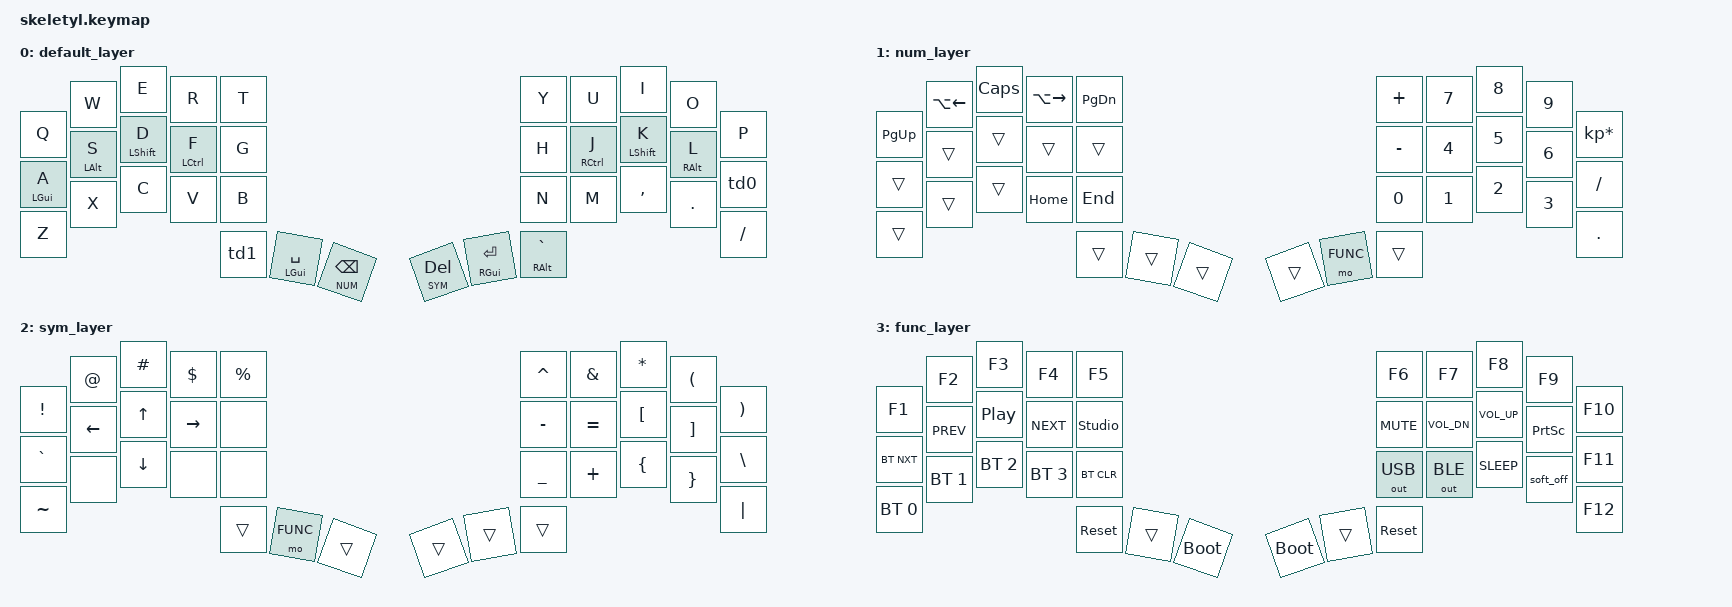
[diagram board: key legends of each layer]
/*
 * Copyright (c) 2020 The ZMK Contributors
 *
 * SPDX-License-Identifier: MIT
 */

#include <behaviors.dtsi>
#include <dt-bindings/zmk/bt.h>
#include <dt-bindings/zmk/keys.h>
#include <dt-bindings/zmk/outputs.h>

// LAYERS

#define DEFAULT 0
#define NUM     1
#define SYM     2
#define FUNC    3

// MACROS

#define SUPER LC(LSHIFT)
#define SUPER2 LA(LC(LSHIFT))

// Opposite-hand key positions, used to restrict homerow mod holds to
// cross-hand chords so same-hand rolls resolve as taps.

#define LEFT_HAND_KEYS 1 2 3 4 5 13 14 15 16 17 25 26 27 28 29 36 37 38
#define RIGHT_HAND_KEYS 6 7 8 9 10 18 19 20 21 22 30 31 32 33 34 39 40 41

&mt {
    tapping-term-ms = <200>;
    flavor = "tap-preferred";
};

/ {
    behaviors {
        hml: homerow_mods_left {
            compatible = "zmk,behavior-hold-tap";
            label = "HOMEROW_MODS_LEFT";
            #binding-cells = <2>;
            tapping-term-ms = <200>;
            quick-tap-ms = <120>;
            flavor = "balanced";
            bindings = <&kp>, <&kp>;

            hold-trigger-key-positions = <RIGHT_HAND_KEYS>;
            hold-trigger-on-release;
        };

        hmr: homerow_mods_right {
            compatible = "zmk,behavior-hold-tap";
            label = "HOMEROW_MODS_RIGHT";
            #binding-cells = <2>;
            tapping-term-ms = <200>;
            quick-tap-ms = <120>;
            flavor = "balanced";
            bindings = <&kp>, <&kp>;

            hold-trigger-key-positions = <LEFT_HAND_KEYS>;
            hold-trigger-on-release;
        };

        td0: tap_dance_0 {
            compatible = "zmk,behavior-tap-dance";
            label = "TAP_DANCE_0";
            #binding-cells = <0>;
            tapping-term-ms = <250>;
            bindings = <&hmr RGUI SEMI>, <&kp SQT>;
        };

        td1: tap_dance_1 {
            compatible = "zmk,behavior-tap-dance";
            label = "TAP_DANCE_1";
            #binding-cells = <0>;
            tapping-term-ms = <200>;
            bindings = <&mt LCTRL TAB>, <&kp ESC>;
        };
    };

    combos {
        compatible = "zmk,combos";

        combo_cword {
            timeout-ms = <50>;
            key-positions = <16 19>;
            require-prior-idle-ms = <150>;
            bindings = <&caps_word>;
        };

        combo_vimwq {
            timeout-ms = <50>;
            key-positions = <1 2>;
            require-prior-idle-ms = <150>;
            bindings = <&vim_quit>;
        };
    };

    macros {
        vim_quit: vim_quit {
            label = "ZM_vim_quit";
            compatible = "zmk,behavior-macro";
            #binding-cells = <0>;
            bindings = <&macro_tap>, <&kp ESC &kp COLON &kp W &kp Q>;
        };
    };

    keymap {
        compatible = "zmk,keymap";

        default_layer {
            bindings = <
&kp Q        &kp W        &kp E          &kp R           &kp T         &kp Y        &kp U         &kp I           &kp O        &kp P
&hml LGUI A  &hml LALT S  &hml LSHIFT D  &hml LCTRL F    &kp G         &kp H        &hmr RCTRL J  &hmr LSHIFT K   &hmr RALT L  &td0
&kp Z        &kp X        &kp C          &kp V           &kp B         &kp N        &kp M         &kp COMMA       &kp DOT      &kp FSLH
                          &td1           &mt LGUI SPACE  &lt NUM BSPC  &lt SYM DEL  &mt RGUI RET  &mt RALT GRAVE
            >;
        };

        num_layer {
            bindings = <
&kp PG_UP  &kp LA(LEFT)  &kp CAPSLOCK  &kp LA(RIGHT)  &kp PAGE_DOWN  &kp PLUS   &kp N7    &kp N8  &kp N9  &kp KP_MULTIPLY
&trans     &trans        &trans        &trans         &trans         &kp MINUS  &kp N4    &kp N5  &kp N6  &kp SLASH
&trans     &trans        &trans        &kp HOME       &kp END        &kp N0     &kp N1    &kp N2  &kp N3  &kp DOT
                         &trans        &trans         &trans         &trans     &mo FUNC  &trans
            >;
        };

        sym_layer {
            bindings = <
&kp EXCL   &kp AT    &kp HASH  &kp DLLR   &kp PRCNT  &kp CARET  &kp AMPS   &kp ASTERISK  &kp LPAR  &kp RPAR
&kp GRAVE  &kp LEFT  &kp UP    &kp RIGHT  &none      &kp MINUS  &kp EQUAL  &kp LBKT      &kp RBKT  &kp BSLH
&kp TILDE  &none     &kp DOWN  &none      &none      &kp UNDER  &kp PLUS   &kp LBRC      &kp RBRC  &kp PIPE
                     &trans    &mo FUNC   &trans     &trans     &trans     &trans
            >;
        };

        func_layer {
            bindings = <
&kp F1        &kp F2        &kp F3            &kp F4        &kp F5          &kp F6        &kp F7        &kp F8        &kp F9           &kp F10
&bt BT_NXT    &kp C_PREV    &kp C_PLAY_PAUSE  &kp C_NEXT    &studio_unlock  &kp C_MUTE    &kp C_VOL_DN  &kp C_VOL_UP  &kp PRINTSCREEN  &kp F11
&bt BT_SEL 0  &bt BT_SEL 1  &bt BT_SEL 2      &bt BT_SEL 3  &bt BT_CLR      &out OUT_USB  &out OUT_BLE  &kp K_SLEEP   &soft_off        &kp F12
                            &sys_reset        &trans        &bootloader     &bootloader   &trans        &sys_reset
            >;
        };
    };
};
